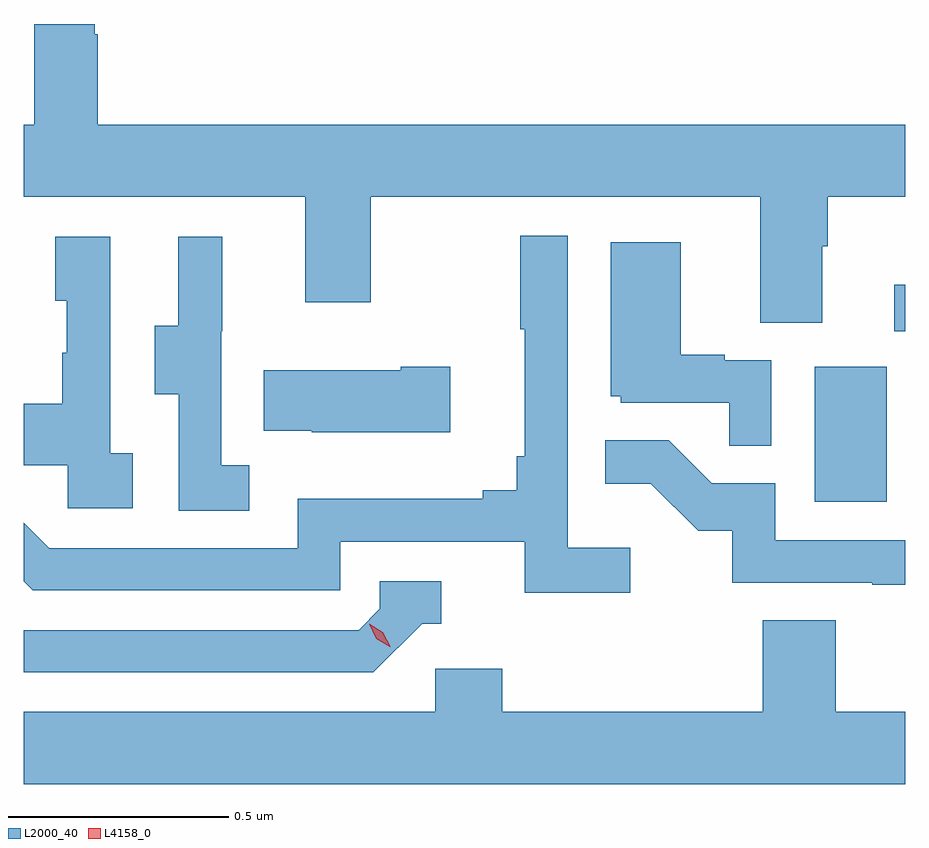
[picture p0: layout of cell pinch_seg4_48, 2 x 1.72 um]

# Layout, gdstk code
import gdstk
lib = gdstk.Library(unit=1e-6, precision=1e-09)
def R(c, l, rs):  # rectangles x0, y0, x1, y1
    for r in rs: c.add(gdstk.rectangle(r[:2], r[2:], *l))
def P(c, l, *ps):  # polygons
    for p in ps: c.add(gdstk.Polygon(p, *l))
L2000_40 = (2000, 40)
L4158_0 = (4158, 0)

pinch_seg4_48 = lib.new_cell('pinch_seg4_48')
R(pinch_seg4_48, L2000_40, [(1140.83,829.428,1140.994,829.735), (1141.011,829.815,1141.036,829.921)])
P(pinch_seg4_48, L2000_40, [(1140.847,830.008),(1140.86,830.008),(1140.86,830.12),(1141.036,830.12),(1141.036,830.284),(1139.204,830.284),(1139.204,830.489),(1139.197,830.489),(1139.197,830.512),(1139.06,830.512),(1139.06,830.284),(1139.036,830.284),(1139.036,830.12),(1139.675,830.12),(1139.675,829.881),(1139.823,829.881),(1139.823,830.12),(1140.707,830.12),(1140.707,829.834),(1140.847,829.834)],
  [(1140.412,829.324),(1140.27,829.324),(1140.27,830.032),(1140.162,830.032),(1140.162,829.819),(1140.173,829.819),(1140.173,829.531),(1140.154,829.531),(1140.154,829.454),(1140.077,829.454),(1140.077,829.435),(1139.658,829.435),(1139.658,829.323),(1139.094,829.323),(1139.036,829.381),(1139.036,829.248),(1139.057,829.227),(1139.754,829.227),(1139.754,829.338),(1140.173,829.338),(1140.173,829.222),(1140.412,829.222)],
  [(1139.548,829.511),(1139.484,829.511),(1139.484,829.815),(1139.486,829.815),(1139.486,830.029),(1139.387,830.029),(1139.387,829.827),(1139.333,829.827),(1139.333,829.672),(1139.388,829.672),(1139.388,829.408),(1139.548,829.408)],
  [(1139.284,829.538),(1139.232,829.538),(1139.232,830.029),(1139.108,830.029),(1139.108,829.884),(1139.134,829.884),(1139.134,829.766),(1139.124,829.766),(1139.124,829.651),(1139.036,829.651),(1139.036,829.511),(1139.136,829.511),(1139.136,829.413),(1139.284,829.413)],
  [(1140.732,829.749),(1140.626,829.749),(1140.626,829.762),(1140.526,829.762),(1140.526,830.017),(1140.368,830.017),(1140.368,829.668),(1140.39,829.668),(1140.39,829.653),(1140.637,829.653),(1140.637,829.555),(1140.732,829.555)],
  [(1140.004,829.734),(1139.891,829.734),(1139.891,829.726),(1139.581,829.726),(1139.581,829.589),(1139.689,829.589),(1139.689,829.586),(1140.004,829.586)],
  [(1141.036,829.341),(1140.741,829.341),(1140.741,829.47),(1140.597,829.47),(1140.499,829.568),(1140.355,829.568),(1140.355,829.469),(1140.459,829.469),(1140.566,829.362),(1140.643,829.362),(1140.643,829.245),(1140.961,829.245),(1140.961,829.24),(1141.036,829.24)],
  [(1139.94,829.152),(1139.983,829.152),(1139.983,829.248),(1139.844,829.248),(1139.844,829.185),(1139.796,829.137),(1139.036,829.137),(1139.036,829.041),(1139.829,829.041)],
  [(1141.036,828.952),(1140.878,828.952),(1140.878,829.16),(1140.713,829.16),(1140.713,828.952),(1140.122,828.952),(1140.122,829.05),(1139.97,829.05),(1139.97,828.952),(1139.036,828.952),(1139.036,828.788),(1141.036,828.788)])
P(pinch_seg4_48, L4158_0, [(1139.867,829.099),(1139.836,829.118),(1139.82,829.151),(1139.82,829.151),(1139.82,829.151),(1139.851,829.132),(1139.868,829.1),(1139.868,829.099)])

lib.write_gds('pinch_seg4_48.gds')
